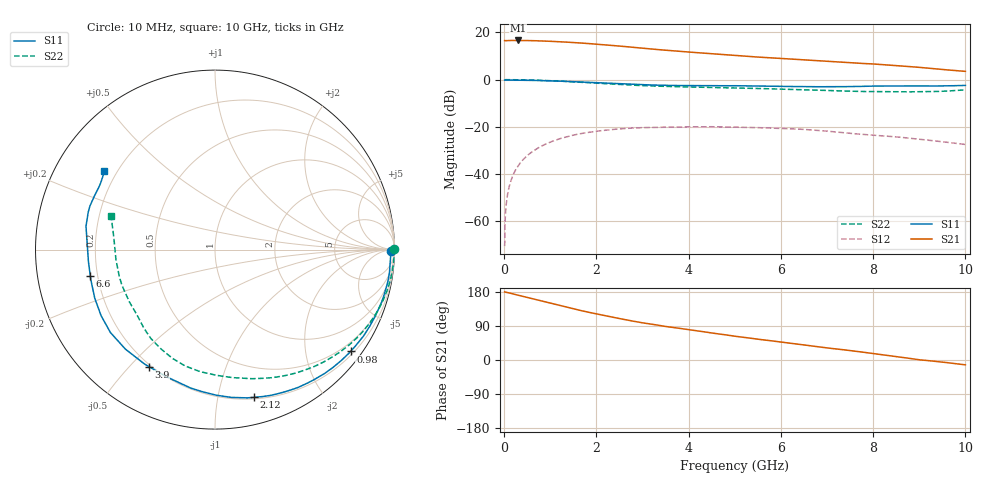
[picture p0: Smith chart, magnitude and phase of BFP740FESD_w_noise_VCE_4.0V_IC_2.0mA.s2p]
! Infineon Technologies  Discrete & RF Semiconductors
! BFP740FESD
! VCE =  4.0 V,  IC =  2.0 mA
! Common Emitter S-Parameters:  Jan 2016
# GHz  S  MA  R  50
!  f  S11  S21  S12  S22
! GHz  MAG  ANG  MAG  ANG  MAG  ANG  MAG  ANG
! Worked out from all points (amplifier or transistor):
!   233 points, 10 MHz to 10 GHz, reference 50 ohm
!   highest |S21| = 16.6 dB at 300 MHz (marker M1)
!   |S21| within 3 dB of that: start of sweep to 2.851 GHz
!   unconditionally stable (mu >= 1): 8.494 GHz to end of sweep
!   at 200 MHz: K = 0.03, MSG = 28.3 dB, |S12| = -40.1 dB
!   at 1.74 GHz: K = 0.12, MSG = 19.0 dB, |S12| = -22.6 dB
!   at 10 GHz: K = 1.71, MAG = 10.6 dB, |S12| = -27.4 dB
!   lowest NFmin = 0.40 dB at 450 MHz
!   S11 on the Smith chart (normalised r, x): 10 MHz: 85, -28; 980 MHz: 0.28, -2.97; 2.12 GHz: 0.21, -1.27; 3.9 GHz: 0.19, -0.57; 6.6 GHz: 0.17, -0.10; 10 GHz: 0.15, +0.31
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0.01  0.9791 -0.4  6.707 179.6  0.0003 -115.6  0.9954 0.1
0.015  0.9817 -0.6  6.685 179.6  0.0004 70.1  0.9965 -0.2
0.02  0.9843 -0.8  6.664 179.5  0.001 68.4  0.9976 -0.5
0.025  0.9835 -1.0  6.664 179.3  0.0013 71.8  0.9977 -0.6
0.07  0.9791 -2.6  6.683 178.0  0.0036 81.6  0.9979 -1.9
0.16  0.9798 -6.2  6.739 175.4  0.0079 83.9  0.997 -4.4
0.3  0.9787 -11.4  6.742 171.1  0.0148 81.1  0.9937 -8.0
0.7  0.9619 -26.5  6.647 158.9  0.0342 71.1  0.9737 -18.7
0.98  0.9447 -36.9  6.482 150.5  0.0468 63.7  0.9515 -26.2
1.3  0.9216 -48.5  6.269 140.9  0.0599 55.3  0.9203 -34.7
1.68  0.8887 -61.6  5.939 130.0  0.0726 45.7  0.8776 -44.4
2.12  0.851 -75.3  5.495 118.6  0.0837 35.7  0.8298 -54.9
2.8  0.7957 -94.8  4.826 102.4  0.0948 21.9  0.7636 -70.1
3.4  0.7606 -109.0  4.268 90.6  0.0985 11.8  0.7242 -80.6
3.9  0.7487 -119.5  3.902 81.8  0.1 5.1  0.7037 -87.8
4.5  0.7461 -132.0  3.544 71.3  0.1009 -2.7  0.6852 -96.9
5.1  0.7404 -143.2  3.204 61.3  0.0987 -10.5  0.665 -105.7
6.6  0.71 -168.1  2.592 38.2  0.0871 -27.7  0.6061 -127.0
6.8  0.708 -171.3  2.516 35.1  0.0842 -29.7  0.5976 -129.6
8.4  0.7366 163.5  2.021 10.6  0.0626 -38.2  0.5551 -158.8
9  0.7352 155.7  1.819 0.6  0.0549 -40.4  0.5547 -174.2
10  0.7545 144.7  1.496 -12.8  0.0425 -37.9  0.6075 162.3
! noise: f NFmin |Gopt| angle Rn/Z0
0.45  0.4  0.8  7  0.23
2.4  0.69  0.53  46  0.21
5.5  1  0.56  124  0.11
10  2.12  0.55  -145  0.17
